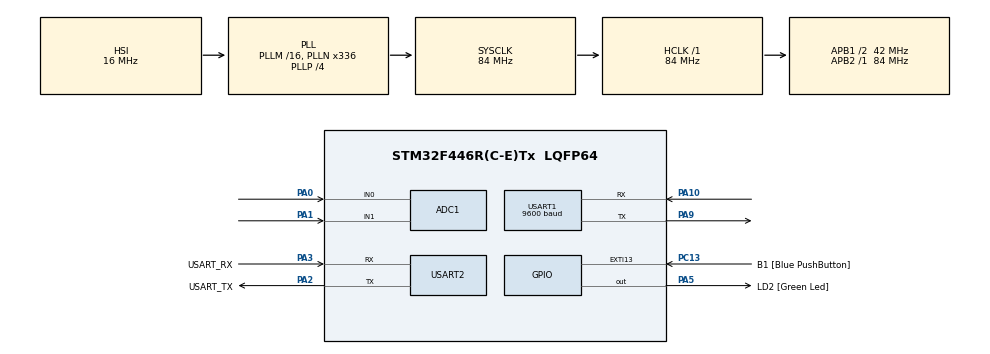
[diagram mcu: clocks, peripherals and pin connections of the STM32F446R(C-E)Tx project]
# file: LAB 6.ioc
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ADC1.Channel-0\#ChannelRegularConversion=ADC_CHANNEL_0
ADC1.Channel-1\#ChannelRegularConversion=ADC_CHANNEL_1
ADC1.ContinuousConvMode=ENABLE
ADC1.DMAContinuousRequests=ENABLE
ADC1.NbrOfConversion=2
ADC1.NbrOfConversionFlag=1
ADC1.Rank-0\#ChannelRegularConversion=1
ADC1.Rank-1\#ChannelRegularConversion=2
ADC1.SamplingTime-0\#ChannelRegularConversion=ADC_SAMPLETIME_15CYCLES
ADC1.SamplingTime-1\#ChannelRegularConversion=ADC_SAMPLETIME_15CYCLES
ADC1.ScanConvMode=ENABLE
ADC1.master=1
Dma.ADC1.0.Direction=DMA_PERIPH_TO_MEMORY
Dma.ADC1.0.FIFOMode=DMA_FIFOMODE_DISABLE
Dma.ADC1.0.Instance=DMA2_Stream0
Dma.ADC1.0.MemDataAlignment=DMA_MDATAALIGN_HALFWORD
Dma.ADC1.0.MemInc=DMA_MINC_ENABLE
Dma.ADC1.0.Mode=DMA_CIRCULAR
Dma.ADC1.0.PeriphDataAlignment=DMA_PDATAALIGN_HALFWORD
Dma.ADC1.0.PeriphInc=DMA_PINC_DISABLE
Dma.ADC1.0.Priority=DMA_PRIORITY_LOW
Dma.Request0=ADC1
Mcu.Family=STM32F4
Mcu.Name=STM32F446R(C-E)Tx
Mcu.Package=LQFP64
NVIC.DMA2_Stream0_IRQn=true\:0\:0\:false\:false\:true\:false\:true\:true
NVIC.PriorityGroup=NVIC_PRIORITYGROUP_0
NVIC.USART1_IRQn=true\:0\:0\:false\:false\:true\:true\:true\:true
PA0-WKUP.Signal=ADCx_IN0
PA1.Signal=ADCx_IN1
PA10.Mode=Asynchronous
PA10.Signal=USART1_RX
PA13.GPIO_Label=TMS
PA13.Signal=SYS_JTMS-SWDIO
PA14.GPIO_Label=TCK
PA14.Signal=SYS_JTCK-SWCLK
PA2.GPIO_Label=USART_TX
PA2.Mode=Asynchronous
PA2.Signal=USART2_TX
PA3.GPIO_Label=USART_RX
PA3.Mode=Asynchronous
PA3.Signal=USART2_RX
PA5.GPIO_Label=LD2 [Green Led]
PA5.Signal=GPIO_Output
PA9.Mode=Asynchronous
PA9.Signal=USART1_TX
PB3.GPIO_Label=SWO
PB3.Signal=SYS_JTDO-SWO
PC13.GPIO_Label=B1 [Blue PushButton]
PC13.GPIO_ModeDefaultEXTI=GPIO_MODE_IT_FALLING
PC13.Signal=GPXTI13
PC14-OSC32_IN.Signal=RCC_OSC32_IN
PC15-OSC32_OUT.Signal=RCC_OSC32_OUT
PH0-OSC_IN.Signal=RCC_OSC_IN
PH1-OSC_OUT.Signal=RCC_OSC_OUT
ProjectManager.HeapSize=0x200
ProjectManager.StackSize=0x400
ProjectManager.TargetToolchain=STM32CubeIDE
RCC.AHBFreq_Value=84000000
RCC.APB1CLKDivider=RCC_HCLK_DIV2
RCC.APB1Freq_Value=42000000
RCC.APB1TimFreq_Value=84000000
RCC.APB2Freq_Value=84000000
RCC.APB2TimFreq_Value=84000000
RCC.CortexFreq_Value=84000000
RCC.FLatency-AdvancedSettings=FLASH_LATENCY_2
RCC.HCLKFreq_Value=84000000
RCC.HSE_VALUE=8000000
RCC.HSI_VALUE=16000000
RCC.LSE_VALUE=32768
RCC.PLLN=336
RCC.PLLP=RCC_PLLP_DIV4
RCC.SYSCLKFreq_VALUE=84000000
RCC.SYSCLKSource=RCC_SYSCLKSOURCE_PLLCLK
RCC.USBFreq_Value=168000000
RCC.VCOOutputFreq_Value=336000000
SH.ADCx_IN0.0=ADC1_IN0,IN0
SH.ADCx_IN1.0=ADC1_IN1,IN1
USART1.BaudRate=9600
USART1.VirtualMode=VM_ASYNC
USART2.VirtualMode=VM_ASYNC
board=NUCLEO-F446RE

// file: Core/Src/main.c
/* USER CODE BEGIN Header */
/**
  ******************************************************************************
  * @file           : main.c
  * @brief          : ADC con DMA y puente UART Nano -> STM32 -> PC
  ******************************************************************************
  * @attention
  *
  * Copyright (c) 2026 STMicroelectronics.
  * All rights reserved.
  *
  ******************************************************************************
  */
/* USER CODE END Header */

#include "main.h"

/* USER CODE BEGIN Includes */
#include <string.h>
/* USER CODE END Includes */

/* USER CODE BEGIN PD */
#define MITAD_ADC               2048U
#define NANO_RX_BUFFER_SIZE       32U
/* USER CODE END PD */

ADC_HandleTypeDef hadc1;
DMA_HandleTypeDef hdma_adc1;

UART_HandleTypeDef huart1;
UART_HandleTypeDef huart2;

/* USER CODE BEGIN PV */
//Lecturas de los pot
volatile uint16_t adc[2];

//Mensajes de los pot
volatile char msg_ADC1[16] = "Iniciando";
volatile char msg_ADC2[16] = "Iniciando";

//Estados anteriores
uint8_t estado_ADC1_anterior = 0xFFU;
uint8_t estado_ADC2_anterior = 0xFFU;

//Nano
uint8_t nano_rx_byte;
volatile char nano_rx_buffer[NANO_RX_BUFFER_SIZE];
volatile char nano_mensaje[NANO_RX_BUFFER_SIZE] = "Sin datos";
volatile uint8_t nano_rx_index = 0U;
volatile uint8_t nano_mensaje_listo = 0U;

//Variables
volatile uint32_t contador_main = 0U;
volatile uint32_t mensajes_nano_recibidos = 0U;
/* USER CODE END PV */

void SystemClock_Config(void);
static void MX_GPIO_Init(void);
static void MX_DMA_Init(void);
static void MX_ADC1_Init(void);
static void MX_USART1_UART_Init(void);
static void MX_USART2_UART_Init(void);

/* USER CODE BEGIN PFP */
void UART2_EnviarTexto(const char *texto);
/* USER CODE END PFP */

int main(void)
{
  /* USER CODE BEGIN 1 */
  uint8_t estado_ADC1;
  uint8_t estado_ADC2;
  char mensaje_nano_local[NANO_RX_BUFFER_SIZE];
  /* USER CODE END 1 */

  /* MCU Configuration--------------------------------------------------------*/

  /* Reset of all peripherals, Initializes the Flash interface and Systick. */
  HAL_Init();

  /* Configure the system clock */
  SystemClock_Config();

  /* Initialize all configured peripherals */
  MX_GPIO_Init();
  MX_DMA_Init();
  MX_ADC1_Init();
  MX_USART1_UART_Init();
  MX_USART2_UART_Init();

  /* USER CODE BEGIN 2 */
  UART2_EnviarTexto("Sistema STM32 iniciado\r\n");

  //Deshabilitar interrupcion del DMA
  HAL_NVIC_DisableIRQ(DMA2_Stream0_IRQn);

  if (HAL_ADC_Start_DMA(&hadc1, (uint32_t *)adc, 2U) != HAL_OK)
  {
    UART2_EnviarTexto("ERROR: no inicio ADC DMA\r\n");
    Error_Handler();
  }

  __HAL_DMA_DISABLE_IT(&hdma_adc1, DMA_IT_HT | DMA_IT_TC);
  UART2_EnviarTexto("ADC DMA iniciado\r\n");

  //Habilitar recepcion del Nano
  HAL_NVIC_SetPriority(USART1_IRQn, 1U, 0U);
  HAL_NVIC_EnableIRQ(USART1_IRQn);

  if (HAL_UART_Receive_IT(&huart1, &nano_rx_byte, 1U) != HAL_OK)
  {
    UART2_EnviarTexto("ERROR: no inicio recepcion USART1\r\n");
    Error_Handler();
  }

  UART2_EnviarTexto("USART1 Nano: 9600 baud\r\n");
  UART2_EnviarTexto("Esperando datos del Nano...\r\n");
  /* USER CODE END 2 */

  /* Infinite loop */
  while (1)
  {

    /* USER CODE BEGIN 3 */
    contador_main++;

    //Reenviar mensaje del Nano
    if (nano_mensaje_listo != 0U)
    {
      HAL_NVIC_DisableIRQ(USART1_IRQn);

      strncpy(mensaje_nano_local,
              (const char *)nano_mensaje,
              NANO_RX_BUFFER_SIZE - 1U);
      mensaje_nano_local[NANO_RX_BUFFER_SIZE - 1U] = '\0';
      nano_mensaje_listo = 0U;

      HAL_NVIC_EnableIRQ(USART1_IRQn);

      UART2_EnviarTexto("Nano: ");
      UART2_EnviarTexto(mensaje_nano_local);
      UART2_EnviarTexto("\r\n");
    }

    //ADC1 Abajo o Arriba
    estado_ADC1 = (adc[0] > MITAD_ADC) ? 1U : 0U;

    if (estado_ADC1 != estado_ADC1_anterior)
    {
      if (estado_ADC1 != 0U)
      {
        strcpy((char *)msg_ADC1, "Arriba");
      }
      else
      {
        strcpy((char *)msg_ADC1, "Abajo");
      }

      UART2_EnviarTexto("POT1: ");
      UART2_EnviarTexto((const char *)msg_ADC1);
      UART2_EnviarTexto("\r\n");

      estado_ADC1_anterior = estado_ADC1;
    }

    //ADC2 Izquierda o Derecha
    estado_ADC2 = (adc[1] > MITAD_ADC) ? 1U : 0U;

    if (estado_ADC2 != estado_ADC2_anterior)
    {
      if (estado_ADC2 != 0U)
      {
        strcpy((char *)msg_ADC2, "Derecha");
      }
      else
      {
        strcpy((char *)msg_ADC2, "Izquierda");
      }

      UART2_EnviarTexto("POT2: ");
      UART2_EnviarTexto((const char *)msg_ADC2);
      UART2_EnviarTexto("\r\n");

      estado_ADC2_anterior = estado_ADC2;
    }

    HAL_Delay(10U);
    /* USER CODE END 3 */
  }
}

void SystemClock_Config(void)
{
  RCC_OscInitTypeDef RCC_OscInitStruct = {0};
  RCC_ClkInitTypeDef RCC_ClkInitStruct = {0};

  /** Configure the main internal regulator output voltage */
  __HAL_RCC_PWR_CLK_ENABLE();
  __HAL_PWR_VOLTAGESCALING_CONFIG(PWR_REGULATOR_VOLTAGE_SCALE3);

  /** Initializes the RCC Oscillators according to the specified parameters */
  RCC_OscInitStruct.OscillatorType = RCC_OSCILLATORTYPE_HSI;
  RCC_OscInitStruct.HSIState = RCC_HSI_ON;
  RCC_OscInitStruct.HSICalibrationValue = RCC_HSICALIBRATION_DEFAULT;
  RCC_OscInitStruct.PLL.PLLState = RCC_PLL_ON;
  RCC_OscInitStruct.PLL.PLLSource = RCC_PLLSOURCE_HSI;
  RCC_OscInitStruct.PLL.PLLM = 16;
  RCC_OscInitStruct.PLL.PLLN = 336;
  RCC_OscInitStruct.PLL.PLLP = RCC_PLLP_DIV4;
  RCC_OscInitStruct.PLL.PLLQ = 2;
  RCC_OscInitStruct.PLL.PLLR = 2;

  if (HAL_RCC_OscConfig(&RCC_OscInitStruct) != HAL_OK)
  {
    Error_Handler();
  }

  /** Initializes the CPU, AHB and APB buses clocks */
  RCC_ClkInitStruct.ClockType = RCC_CLOCKTYPE_HCLK |
                                    RCC_CLOCKTYPE_SYSCLK |
                                    RCC_CLOCKTYPE_PCLK1 |
                                    RCC_CLOCKTYPE_PCLK2;
  RCC_ClkInitStruct.SYSCLKSource = RCC_SYSCLKSOURCE_PLLCLK;
  RCC_ClkInitStruct.AHBCLKDivider = RCC_SYSCLK_DIV1;
  RCC_ClkInitStruct.APB1CLKDivider = RCC_HCLK_DIV2;
  RCC_ClkInitStruct.APB2CLKDivider = RCC_HCLK_DIV1;

  if (HAL_RCC_ClockConfig(&RCC_ClkInitStruct, FLASH_LATENCY_2) != HAL_OK)
  {
    Error_Handler();
  }
}

static void MX_ADC1_Init(void)
{

  ADC_ChannelConfTypeDef sConfig = {0};

  /** Configure the global features of the ADC */
  hadc1.Instance = ADC1;
  hadc1.Init.ClockPrescaler = ADC_CLOCK_SYNC_PCLK_DIV4;
  hadc1.Init.Resolution = ADC_RESOLUTION_12B;
  hadc1.Init.ScanConvMode = ENABLE;
  hadc1.Init.ContinuousConvMode = ENABLE;
  hadc1.Init.DiscontinuousConvMode = DISABLE;
  hadc1.Init.ExternalTrigConvEdge = ADC_EXTERNALTRIGCONVEDGE_NONE;
  hadc1.Init.ExternalTrigConv = ADC_SOFTWARE_START;
  hadc1.Init.DataAlign = ADC_DATAALIGN_RIGHT;
  hadc1.Init.NbrOfConversion = 2;
  hadc1.Init.DMAContinuousRequests = ENABLE;
  hadc1.Init.EOCSelection = ADC_EOC_SINGLE_CONV;

  if (HAL_ADC_Init(&hadc1) != HAL_OK)
  {
    Error_Handler();
  }

  /** Configure ADC channel 0 as rank 1 */
  sConfig.Channel = ADC_CHANNEL_0;
  sConfig.Rank = 1;
  sConfig.SamplingTime = ADC_SAMPLETIME_15CYCLES;

  if (HAL_ADC_ConfigChannel(&hadc1, &sConfig) != HAL_OK)
  {
    Error_Handler();
  }

  /** Configure ADC channel 1 as rank 2 */
  sConfig.Channel = ADC_CHANNEL_1;
  sConfig.Rank = 2;
  sConfig.SamplingTime = ADC_SAMPLETIME_15CYCLES;

  if (HAL_ADC_ConfigChannel(&hadc1, &sConfig) != HAL_OK)
  {
    Error_Handler();
  }

}

static void MX_USART1_UART_Init(void)
{

  huart1.Instance = USART1;
  //Enlace UART con el Nano
  huart1.Init.BaudRate = 9600;
  huart1.Init.WordLength = UART_WORDLENGTH_8B;
  huart1.Init.StopBits = UART_STOPBITS_1;
  huart1.Init.Parity = UART_PARITY_NONE;
  huart1.Init.Mode = UART_MODE_TX_RX;
  huart1.Init.HwFlowCtl = UART_HWCONTROL_NONE;
  huart1.Init.OverSampling = UART_OVERSAMPLING_16;

  if (HAL_UART_Init(&huart1) != HAL_OK)
  {
    Error_Handler();
  }

}

static void MX_USART2_UART_Init(void)
{

  huart2.Instance = USART2;
  huart2.Init.BaudRate = 115200;
  huart2.Init.WordLength = UART_WORDLENGTH_8B;
  huart2.Init.StopBits = UART_STOPBITS_1;
  huart2.Init.Parity = UART_PARITY_NONE;
  huart2.Init.Mode = UART_MODE_TX_RX;
  huart2.Init.HwFlowCtl = UART_HWCONTROL_NONE;
  huart2.Init.OverSampling = UART_OVERSAMPLING_16;

  if (HAL_UART_Init(&huart2) != HAL_OK)
  {
    Error_Handler();
  }

}

static void MX_DMA_Init(void)
{
  /* DMA controller clock enable */
  __HAL_RCC_DMA2_CLK_ENABLE();

  /* DMA interrupt init */
  /* DMA2_Stream0_IRQn interrupt configuration */
  HAL_NVIC_SetPriority(DMA2_Stream0_IRQn, 0, 0);
  HAL_NVIC_EnableIRQ(DMA2_Stream0_IRQn);
}

static void MX_GPIO_Init(void)
{
  GPIO_InitTypeDef GPIO_InitStruct = {0};

  /* GPIO Ports Clock Enable */
  __HAL_RCC_GPIOC_CLK_ENABLE();
  __HAL_RCC_GPIOH_CLK_ENABLE();
  __HAL_RCC_GPIOA_CLK_ENABLE();
  __HAL_RCC_GPIOB_CLK_ENABLE();

  /* Configure GPIO pin Output Level */
  HAL_GPIO_WritePin(LD2_GPIO_Port, LD2_Pin, GPIO_PIN_RESET);

  /* Configure GPIO pin: B1_Pin */
  GPIO_InitStruct.Pin = B1_Pin;
  GPIO_InitStruct.Mode = GPIO_MODE_IT_FALLING;
  GPIO_InitStruct.Pull = GPIO_NOPULL;
  HAL_GPIO_Init(B1_GPIO_Port, &GPIO_InitStruct);

  /* Configure GPIO pin: LD2_Pin */
  GPIO_InitStruct.Pin = LD2_Pin;
  GPIO_InitStruct.Mode = GPIO_MODE_OUTPUT_PP;
  GPIO_InitStruct.Pull = GPIO_NOPULL;
  GPIO_InitStruct.Speed = GPIO_SPEED_FREQ_LOW;
  HAL_GPIO_Init(LD2_GPIO_Port, &GPIO_InitStruct);

}

/* USER CODE BEGIN 4 */

//Enviar texto por USART2
void UART2_EnviarTexto(const char *texto)
{
  HAL_UART_Transmit(&huart2,
                    (uint8_t *)texto,
                    (uint16_t)strlen(texto),
                    100U);
}

//Procesar cada byte del Nano
void HAL_UART_RxCpltCallback(UART_HandleTypeDef *huart)
{
  uint8_t i;
  char caracter;

  if (huart->Instance == USART1)
  {
    caracter = (char)nano_rx_byte;

    //Detectar el final del mensaje
    if (caracter == '\n')
    {
      //Ignorar mensajes vacios
      if ((nano_rx_index > 0U) && (nano_mensaje_listo == 0U))
      {
        nano_rx_buffer[nano_rx_index] = '\0';

        for (i = 0U; i <= nano_rx_index; i++)
        {
          nano_mensaje[i] = nano_rx_buffer[i];
        }

        nano_mensaje_listo = 1U;
        mensajes_nano_recibidos++;
      }

      nano_rx_index = 0U;
    }
    else if (caracter != '\r')
    {
      if (nano_rx_index < (NANO_RX_BUFFER_SIZE - 1U))
      {
        nano_rx_buffer[nano_rx_index] = caracter;
        nano_rx_index++;
      }
      else
      {
        //Descartar mensajes largos
        nano_rx_index = 0U;
      }
    }

    //Recibir el siguiente byte
    HAL_UART_Receive_IT(&huart1, &nano_rx_byte, 1U);
  }
}

//Reinicia USART1 si ocurre un error
void HAL_UART_ErrorCallback(UART_HandleTypeDef *huart)
{
  if (huart->Instance == USART1)
  {
    nano_rx_index = 0U;
    __HAL_UART_CLEAR_OREFLAG(huart);
    HAL_UART_Receive_IT(&huart1, &nano_rx_byte, 1U);
  }
}

/* USER CODE END 4 */

void Error_Handler(void)
{
  __disable_irq();
  while (1)
  {
  }
}

#ifdef USE_FULL_ASSERT
/**
  * @brief Reports the name of the source file and the source line number.
  * @param file Pointer to the source file name.
  * @param line Source line number.
  * @retval None
  */
void assert_failed(uint8_t *file, uint32_t line)
{
  /* USER CODE BEGIN 6 */
  /* User can add an implementation to report file and line. */
  /* USER CODE END 6 */
}
#endif /* USE_FULL_ASSERT */
